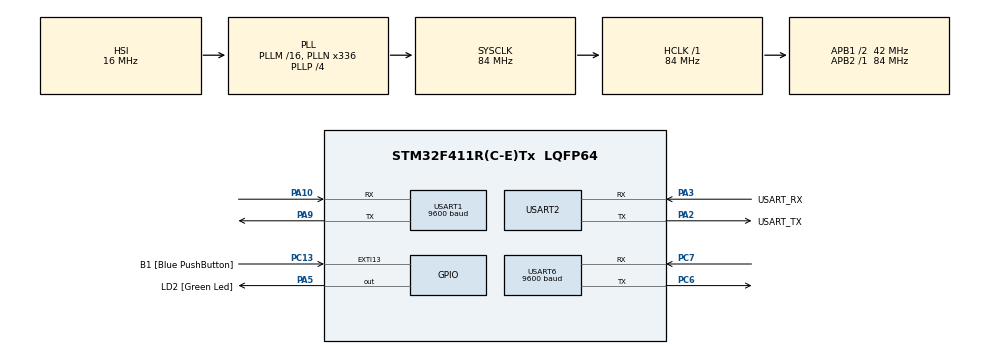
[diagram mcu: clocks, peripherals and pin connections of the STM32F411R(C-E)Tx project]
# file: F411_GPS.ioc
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Mcu.Family=STM32F4
Mcu.Name=STM32F411R(C-E)Tx
Mcu.Package=LQFP64
NVIC.PriorityGroup=NVIC_PRIORITYGROUP_0
NVIC.USART1_IRQn=true\:0\:0\:false\:false\:true\:true\:true\:true
PA10.Mode=Asynchronous
PA10.Signal=USART1_RX
PA13.GPIO_Label=TMS
PA13.Mode=Serial_Wire
PA13.Signal=SYS_JTMS-SWDIO
PA14.GPIO_Label=TCK
PA14.Mode=Serial_Wire
PA14.Signal=SYS_JTCK-SWCLK
PA2.GPIO_Label=USART_TX
PA2.Mode=Asynchronous
PA2.Signal=USART2_TX
PA3.GPIO_Label=USART_RX
PA3.Mode=Asynchronous
PA3.Signal=USART2_RX
PA5.GPIO_Label=LD2 [Green Led]
PA5.Signal=GPIO_Output
PA9.Mode=Asynchronous
PA9.Signal=USART1_TX
PB3.GPIO_Label=SWO
PB3.Signal=SYS_JTDO-SWO
PC13-ANTI_TAMP.GPIO_Label=B1 [Blue PushButton]
PC13-ANTI_TAMP.GPIO_ModeDefaultEXTI=GPIO_MODE_IT_FALLING
PC13-ANTI_TAMP.Signal=GPXTI13
PC14-OSC32_IN.Mode=LSE-External-Oscillator
PC14-OSC32_IN.Signal=RCC_OSC32_IN
PC15-OSC32_OUT.Mode=LSE-External-Oscillator
PC15-OSC32_OUT.Signal=RCC_OSC32_OUT
PC6.Mode=Asynchronous
PC6.Signal=USART6_TX
PC7.Mode=Asynchronous
PC7.Signal=USART6_RX
PH0\ -\ OSC_IN.Mode=HSE-External-Clock-Source
PH0\ -\ OSC_IN.Signal=RCC_OSC_IN
PH1\ -\ OSC_OUT.Mode=HSE-External-Clock-Source
PH1\ -\ OSC_OUT.Signal=RCC_OSC_OUT
ProjectManager.HeapSize=0x200
ProjectManager.StackSize=0x400
ProjectManager.TargetToolchain=STM32CubeIDE
RCC.48MHZClocksFreq_Value=84000000
RCC.AHBFreq_Value=84000000
RCC.APB1CLKDivider=RCC_HCLK_DIV2
RCC.APB1Freq_Value=42000000
RCC.APB1TimFreq_Value=84000000
RCC.APB2Freq_Value=84000000
RCC.APB2TimFreq_Value=84000000
RCC.CortexFreq_Value=84000000
RCC.FLatency-AdvancedSettings=FLASH_LATENCY_2
RCC.HCLKFreq_Value=84000000
RCC.HSE_VALUE=8000000
RCC.HSI_VALUE=16000000
RCC.PLLN=336
RCC.PLLP=RCC_PLLP_DIV4
RCC.SYSCLKFreq_VALUE=84000000
RCC.SYSCLKSource=RCC_SYSCLKSOURCE_PLLCLK
RCC.VCOOutputFreq_Value=336000000
USART1.BaudRate=9600
USART1.VirtualMode=VM_ASYNC
USART2.VirtualMode=VM_ASYNC
USART6.BaudRate=9600
USART6.VirtualMode=VM_ASYNC
board=NUCLEO-F411RE

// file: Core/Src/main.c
/* USER CODE BEGIN Header */
/**
  ******************************************************************************
  * @file           : main.c
  * @brief          : Main program body
  ******************************************************************************
  * @attention
  *
  * Copyright (c) 2023 STMicroelectronics.
  * All rights reserved.
  *
  * This software is licensed under terms that can be found in the LICENSE file
  * in the root directory of this software component.
  * If no LICENSE file comes with this software, it is provided AS-IS.
  *
  ******************************************************************************
  */
/* USER CODE END Header */
#include "main.h"

/* USER CODE BEGIN Includes */
#include "lwgps/lwgps.h"
#include <stdio.h>
/* USER CODE END Includes */

UART_HandleTypeDef huart1;
UART_HandleTypeDef huart2;
UART_HandleTypeDef huart6;

/* USER CODE BEGIN PV */
lwgps_t gps;
char message_sander1[1]={0};
uint8_t rx_buffer[128];
uint8_t rx_index = 0;
uint8_t rx_data = 0;
/* USER CODE END PV */

void SystemClock_Config(void);
static void MX_GPIO_Init(void);
static void MX_USART2_UART_Init(void);
static void MX_USART1_UART_Init(void);
static void MX_USART6_UART_Init(void);
/* USER CODE BEGIN PFP */
void TT_UART_Data_Transmitter(float Transmit_Data);
/* USER CODE END PFP */

/* USER CODE BEGIN 0 */

void HAL_UART_RxCpltCallback(UART_HandleTypeDef *huart)
{
	if(huart == &huart1) {
		if(rx_data != '\n' && rx_index < sizeof(rx_buffer)) {
			rx_buffer[rx_index++] = rx_data;

		}
		else {
			lwgps_process(&gps, rx_buffer, rx_index+1);
			rx_index = 0;
			rx_data = 0;
		}
		HAL_UART_Receive_IT(&huart1, &rx_data, 1);
	}

}

/* USER CODE END 0 */

int main(void)
{

  /* MCU Configuration--------------------------------------------------------*/

  /* Reset of all peripherals, Initializes the Flash interface and the Systick. */
  HAL_Init();

  /* Configure the system clock */
  SystemClock_Config();

  /* Initialize all configured peripherals */
  MX_GPIO_Init();
  MX_USART2_UART_Init();
  MX_USART1_UART_Init();
  MX_USART6_UART_Init();
  /* USER CODE BEGIN 2 */
HAL_UART_Receive_IT(&huart1, &rx_data, 1);

  /* USER CODE END 2 */

  /* Infinite loop */
  while (1)
  {

    /* USER CODE BEGIN 3 */
	  if(gps.sats_in_view>6 ){

		HAL_GPIO_WritePin(GPIOA, GPIO_PIN_5,SET);
		USART6->DR = 'L';
		while ((USART6->SR & USART_SR_TXE) == 0)
			;
		USART6->DR = 'A';
		while ((USART6->SR & USART_SR_TXE) == 0)
			;
		TT_UART_Data_Transmitter(gps.latitude);
		USART6->DR = '\n';
		while ((USART6->SR & USART_SR_TXE) == 0)
		;
		USART6->DR = 'L';
		while ((USART6->SR & USART_SR_TXE) == 0)
			;
		USART6->DR = 'O';
		while ((USART6->SR & USART_SR_TXE) == 0)
			;
		TT_UART_Data_Transmitter(gps.longitude);
		USART6->DR = '\n';
		while ((USART6->SR & USART_SR_TXE) == 0);
		HAL_Delay(1000);
	  }
	  else{
			HAL_GPIO_WritePin(GPIOA, GPIO_PIN_5,RESET);

	  }

	  	  	/*USART6->DR = 'L';
	  		while ((USART6->SR & USART_SR_TXE) == 0)
	  			;
	  		USART6->DR = 'A';
	  		while ((USART6->SR & USART_SR_TXE) == 0)
	  			;
	  		TT_UART_Data_Transmitter(38.687745);
	  		USART6->DR = '\n';
	  		while ((USART6->SR & USART_SR_TXE) == 0)
	  		;
	  		USART6->DR = 'L';
	  		while ((USART6->SR & USART_SR_TXE) == 0)
	  			;
	  		USART6->DR = 'O';
	  		while ((USART6->SR & USART_SR_TXE) == 0)
	  			;
	  		TT_UART_Data_Transmitter(35.617622);
	  		USART6->DR = '\n';
	  		while ((USART6->SR & USART_SR_TXE) == 0);
	  		HAL_Delay(1000);*/

	  /*HAL_UART_Transmit(&huart6,"Selam\n", 6,HAL_MAX_DELAY);
	  HAL_Delay(100);*/

  }
  /* USER CODE END 3 */
}

void SystemClock_Config(void)
{
  RCC_OscInitTypeDef RCC_OscInitStruct = {0};
  RCC_ClkInitTypeDef RCC_ClkInitStruct = {0};

  /** Configure the main internal regulator output voltage
  */
  __HAL_RCC_PWR_CLK_ENABLE();
  __HAL_PWR_VOLTAGESCALING_CONFIG(PWR_REGULATOR_VOLTAGE_SCALE1);

  /** Initializes the RCC Oscillators according to the specified parameters
  * in the RCC_OscInitTypeDef structure.
  */
  RCC_OscInitStruct.OscillatorType = RCC_OSCILLATORTYPE_HSI;
  RCC_OscInitStruct.HSIState = RCC_HSI_ON;
  RCC_OscInitStruct.HSICalibrationValue = RCC_HSICALIBRATION_DEFAULT;
  RCC_OscInitStruct.PLL.PLLState = RCC_PLL_ON;
  RCC_OscInitStruct.PLL.PLLSource = RCC_PLLSOURCE_HSI;
  RCC_OscInitStruct.PLL.PLLM = 16;
  RCC_OscInitStruct.PLL.PLLN = 336;
  RCC_OscInitStruct.PLL.PLLP = RCC_PLLP_DIV4;
  RCC_OscInitStruct.PLL.PLLQ = 4;
  if (HAL_RCC_OscConfig(&RCC_OscInitStruct) != HAL_OK)
  {
    Error_Handler();
  }

  /** Initializes the CPU, AHB and APB buses clocks
  */
  RCC_ClkInitStruct.ClockType = RCC_CLOCKTYPE_HCLK|RCC_CLOCKTYPE_SYSCLK
                              |RCC_CLOCKTYPE_PCLK1|RCC_CLOCKTYPE_PCLK2;
  RCC_ClkInitStruct.SYSCLKSource = RCC_SYSCLKSOURCE_PLLCLK;
  RCC_ClkInitStruct.AHBCLKDivider = RCC_SYSCLK_DIV1;
  RCC_ClkInitStruct.APB1CLKDivider = RCC_HCLK_DIV2;
  RCC_ClkInitStruct.APB2CLKDivider = RCC_HCLK_DIV1;

  if (HAL_RCC_ClockConfig(&RCC_ClkInitStruct, FLASH_LATENCY_2) != HAL_OK)
  {
    Error_Handler();
  }
}

static void MX_USART1_UART_Init(void)
{

  huart1.Instance = USART1;
  huart1.Init.BaudRate = 9600;
  huart1.Init.WordLength = UART_WORDLENGTH_8B;
  huart1.Init.StopBits = UART_STOPBITS_1;
  huart1.Init.Parity = UART_PARITY_NONE;
  huart1.Init.Mode = UART_MODE_TX_RX;
  huart1.Init.HwFlowCtl = UART_HWCONTROL_NONE;
  huart1.Init.OverSampling = UART_OVERSAMPLING_16;
  if (HAL_UART_Init(&huart1) != HAL_OK)
  {
    Error_Handler();
  }

}

static void MX_USART2_UART_Init(void)
{

  huart2.Instance = USART2;
  huart2.Init.BaudRate = 115200;
  huart2.Init.WordLength = UART_WORDLENGTH_8B;
  huart2.Init.StopBits = UART_STOPBITS_1;
  huart2.Init.Parity = UART_PARITY_NONE;
  huart2.Init.Mode = UART_MODE_TX_RX;
  huart2.Init.HwFlowCtl = UART_HWCONTROL_NONE;
  huart2.Init.OverSampling = UART_OVERSAMPLING_16;
  if (HAL_UART_Init(&huart2) != HAL_OK)
  {
    Error_Handler();
  }

}

static void MX_USART6_UART_Init(void)
{

  huart6.Instance = USART6;
  huart6.Init.BaudRate = 9600;
  huart6.Init.WordLength = UART_WORDLENGTH_8B;
  huart6.Init.StopBits = UART_STOPBITS_1;
  huart6.Init.Parity = UART_PARITY_NONE;
  huart6.Init.Mode = UART_MODE_TX_RX;
  huart6.Init.HwFlowCtl = UART_HWCONTROL_NONE;
  huart6.Init.OverSampling = UART_OVERSAMPLING_16;
  if (HAL_UART_Init(&huart6) != HAL_OK)
  {
    Error_Handler();
  }

}

static void MX_GPIO_Init(void)
{
  GPIO_InitTypeDef GPIO_InitStruct = {0};

  /* GPIO Ports Clock Enable */
  __HAL_RCC_GPIOC_CLK_ENABLE();
  __HAL_RCC_GPIOH_CLK_ENABLE();
  __HAL_RCC_GPIOA_CLK_ENABLE();
  __HAL_RCC_GPIOB_CLK_ENABLE();

  /*Configure GPIO pin Output Level */
  HAL_GPIO_WritePin(LD2_GPIO_Port, LD2_Pin, GPIO_PIN_RESET);

  /*Configure GPIO pin : B1_Pin */
  GPIO_InitStruct.Pin = B1_Pin;
  GPIO_InitStruct.Mode = GPIO_MODE_IT_FALLING;
  GPIO_InitStruct.Pull = GPIO_NOPULL;
  HAL_GPIO_Init(B1_GPIO_Port, &GPIO_InitStruct);

  /*Configure GPIO pin : LD2_Pin */
  GPIO_InitStruct.Pin = LD2_Pin;
  GPIO_InitStruct.Mode = GPIO_MODE_OUTPUT_PP;
  GPIO_InitStruct.Pull = GPIO_NOPULL;
  GPIO_InitStruct.Speed = GPIO_SPEED_FREQ_LOW;
  HAL_GPIO_Init(LD2_GPIO_Port, &GPIO_InitStruct);

}

/* USER CODE BEGIN 4 */
void TT_UART_Data_Transmitter(float Transmit_Data) {
	char Buffer[9];
	sprintf(Buffer, "%f", Transmit_Data);
	for (int i = 0; i < sizeof(Buffer); i++) {
		USART6->DR = Buffer[i];
		while ((USART6->SR & USART_SR_TXE) == 0)
			;

	}}

/* USER CODE END 4 */

void Error_Handler(void)
{
  __disable_irq();
  while (1)
  {
  }
}
